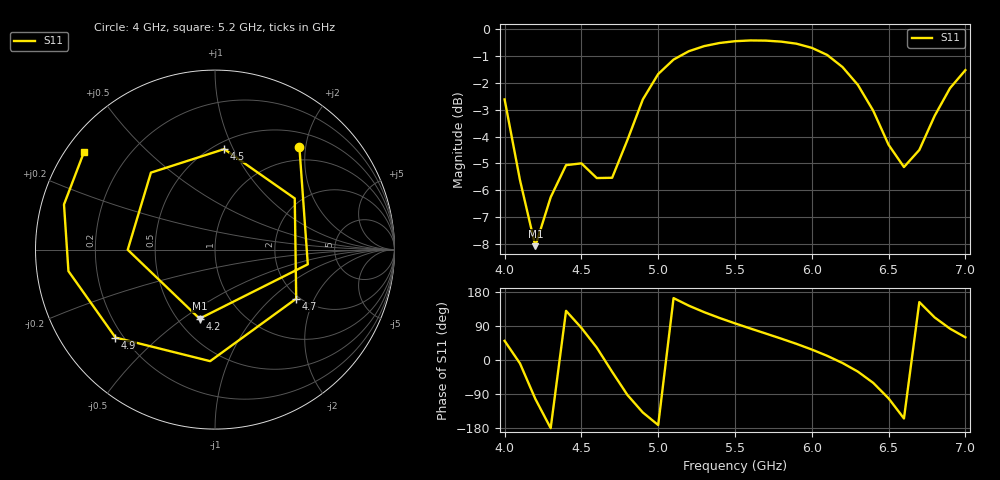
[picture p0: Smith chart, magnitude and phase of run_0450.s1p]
! Touchstone file exported from HFSS 2024.2.0
!  File:  C:/Users/wsak9/Desktop/Sim Fast/Widenad Patch/WP_AI_V1_sweep.aedt
!  Generated:  10:35:07 AM Oct 14, 2026
!  Design:  A1_model
!  Project:  WP_AI_V1_sweep
!  Setup:  Setup1
!  Solution:  Sweep
! Variables:
!  Air_gap = 4.44mm
!  Curve_Amp1 = 3.04
!  Curve_len1 = 1
!  Curve_pos = 13.095mm
!  Extra = 4.26mm
!  H_sub = 0.79mm
!  L_Patch = 22.19mm
!  L_Patch1 = 16.62mm
!  Sx = 4.87mm
!  Sy = 3.8mm
!  WS = 0.62mm
!  W_Patch = 14.82mm
!  W_Patch1 = 12.36mm
!Data is not renormalized
# GHz S MA
! Terminal data exported
! Port[1] = 1
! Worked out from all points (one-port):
!   31 points, 4 GHz to 7 GHz, reference per port
!   lowest |S11| = -8.1 dB at 4.2 GHz (marker M1), VSWR 2.30
!   |S11| at or under -10 dB: nowhere
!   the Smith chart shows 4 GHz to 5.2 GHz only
!   S11 on the Smith chart (normalised r, x): 4 GHz: 0.74, +1.88; 4.2 GHz: 0.64, -0.58; 4.5 GHz: 0.56, +0.92; 4.7 GHz: 1.93, -1.46; 4.9 GHz: 0.17, -0.37; 5.2 GHz: 0.05, +0.33
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4  0.7401 50.6
4.1  0.5235 -9.0
4.2  0.3941 -102.6
4.3  0.4862 -179.9
4.4  0.558 129.8
4.5  0.5624 84.8
4.6  0.528 32.7
4.7  0.5286 -31.1
4.8  0.6221 -92.5
4.9  0.74 -138.5
5  0.8253 -171.6
5.1  0.8781 163.3
5.2  0.9103 143.2
5.3  0.9304 126.1
5.4  0.943 110.8
5.5  0.9502 96.7
5.7  0.9526 69.9
5.9  0.9401 42.6
6.1  0.8958 11.0
6.2  0.8504 -7.9
6.3  0.7876 -30.7
6.4  0.7049 -60.4
6.5  0.6089 -101.3
6.6  0.5535 -154.3
6.7  0.5956 152.9
6.8  0.6898 112.3
6.9  0.7768 82.6
7  0.8391 59.9
